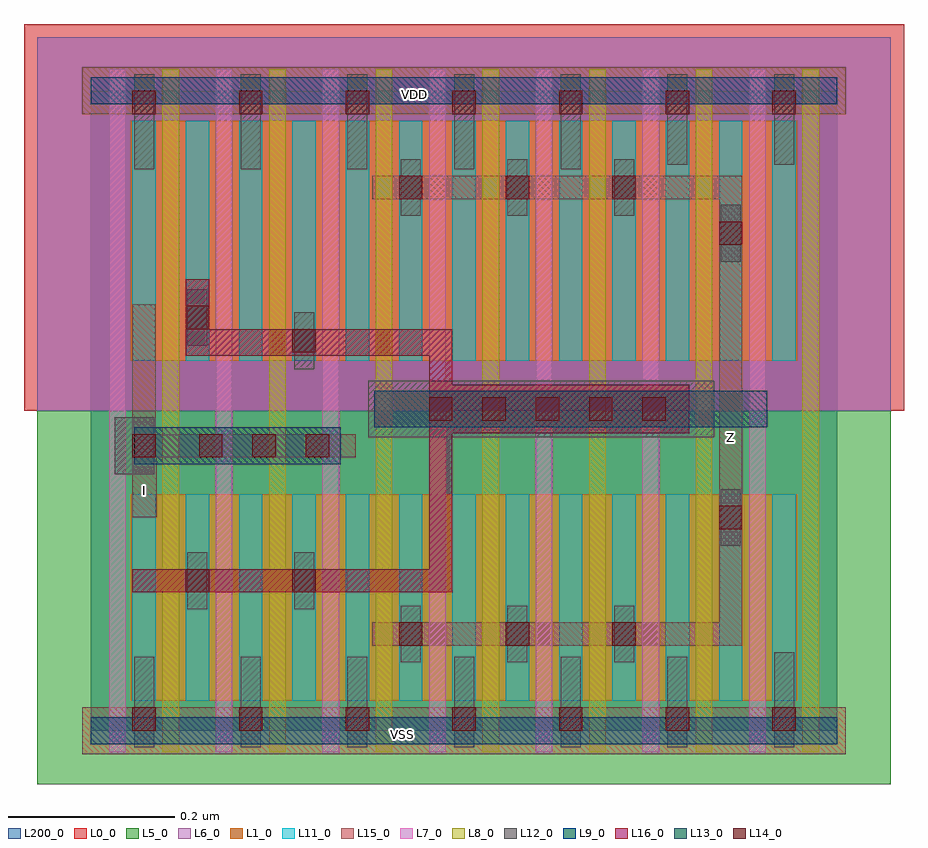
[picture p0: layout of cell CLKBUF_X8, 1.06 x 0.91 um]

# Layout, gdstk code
import gdstk
lib = gdstk.Library(unit=1e-6, precision=1e-09)
def R(c, l, rs):  # rectangles x0, y0, x1, y1
    for r in rs: c.add(gdstk.rectangle(r[:2], r[2:], *l))
def A(c, l, x, y, w, h, nx, ny, dx, dy):  # array of equal rectangles
    R(c, l, [(x+i*dx, y+j*dy, x+i*dx+w, y+j*dy+h) for i in range(nx) for j in range(ny)])
def P(c, l, *ps):  # polygons
    for p in ps: c.add(gdstk.Polygon(p, *l))
L0_0 = (0, 0)
L1_0 = (1, 0)
L5_0 = (5, 0)
L6_0 = (6, 0)
L7_0 = (7, 0)
L8_0 = (8, 0)
L9_0 = (9, 0)
L11_0 = (11, 0)
L12_0 = (12, 0)
L13_0 = (13, 0)
L14_0 = (14, 0)
L15_0 = (15, 0)
L16_0 = (16, 0)
L200_0 = (200, 0)

clkbuf_x8 = lib.new_cell('CLKBUF_X8')
R(clkbuf_x8, L0_0, [(-0.08,0.384,0.976,0.848)])
R(clkbuf_x8, L1_0, [(0.048,0.036,0.848,0.284), (0.048,0.444,0.848,0.732)])
R(clkbuf_x8, L5_0, [(-0.064,-0.064,0.96,0.384)])
R(clkbuf_x8, L6_0, [(-0.064,0.384,0.96,0.832)])
A(clkbuf_x8, L7_0, 0.022, -0.026, 0.02, 0.82, 7, 1, 0.128, 0)
A(clkbuf_x8, L8_0, 0.086, -0.026, 0.02, 0.82, 7, 1, 0.128, 0)
R(clkbuf_x8, L9_0, [(0,-0.016,0.896,0.016), (0,0.752,0.896,0.784)])
A(clkbuf_x8, L11_0, 0.05, 0.036, 0.028, 0.248, 13, 1, 0.064, 0)
A(clkbuf_x8, L11_0, 0.05, 0.444, 0.028, 0.288, 13, 1, 0.064, 0)
A(clkbuf_x8, L12_0, 0.052, -0.02, 0.024, 0.109, 6, 1, 0.128, 0)
A(clkbuf_x8, L12_0, 0.372, 0.082, 0.024, 0.068, 3, 2, 0.128, 0.536)
A(clkbuf_x8, L12_0, 0.052, 0.674, 0.024, 0.114, 5, 1, 0.128, 0)
R(clkbuf_x8, L12_0, [(0.82,-0.02,0.844,0.094), (0.116,0.146,0.14,0.214), (0.244,0.146,0.268,0.214), (0.756,0.222,0.78,0.29), (0.029,0.308,0.076,0.376), (0.333,0.352,0.748,0.42), (0.244,0.434,0.268,0.502), (0.116,0.462,0.14,0.53), (0.756,0.563,0.78,0.631), (0.692,0.679,0.716,0.788), (0.82,0.679,0.844,0.788)])
R(clkbuf_x8, L13_0, [(0.052,0.32,0.3,0.364), (0.34,0.364,0.812,0.408)])
A(clkbuf_x8, L14_0, 0.05, 0, 0.028, 0.028, 7, 2, 0.128, 0.74)
A(clkbuf_x8, L14_0, 0.37, 0.102, 0.028, 0.028, 3, 2, 0.128, 0.536)
A(clkbuf_x8, L14_0, 0.13, 0.328, 0.028, 0.028, 3, 1, 0.064, 0)
A(clkbuf_x8, L14_0, 0.406, 0.372, 0.028, 0.028, 5, 1, 0.064, 0)
R(clkbuf_x8, L14_0, [(0.114,0.166,0.142,0.194), (0.242,0.166,0.27,0.194), (0.754,0.242,0.782,0.27), (0.05,0.328,0.078,0.356), (0.242,0.454,0.27,0.482), (0.114,0.482,0.142,0.51), (0.754,0.583,0.782,0.611)])
R(clkbuf_x8, L15_0, [(-0.01,-0.028,0.906,0.028), (-0.01,0.74,0.906,0.796)])
P(clkbuf_x8, L15_0, [(0.05,0.256),(0.079,0.256),(0.079,0.328),(0.318,0.328),(0.318,0.356),(0.078,0.356),(0.078,0.512),(0.05,0.512)],
  [(0.338,0.638),(0.754,0.638),(0.754,0.13),(0.338,0.13),(0.338,0.102),(0.782,0.102),(0.782,0.666),(0.338,0.666)])
P(clkbuf_x8, L16_0, [(0.114,0.45),(0.406,0.45),(0.406,0.194),(0.05,0.194),(0.05,0.166),(0.434,0.166),(0.434,0.357),(0.718,0.357),(0.718,0.415),(0.434,0.415),(0.434,0.482),(0.142,0.482),(0.142,0.542),(0.114,0.542)])
R(clkbuf_x8, L200_0, [(0,0,0.896,0.768)])
clkbuf_x8.add(gdstk.Label('VSS', (0.374,-0.004), layer=15, texttype=20))
clkbuf_x8.add(gdstk.Label('I', (0.064,0.288), layer=15, texttype=20))
clkbuf_x8.add(gdstk.Label('Z', (0.768,0.352), layer=15, texttype=20))
clkbuf_x8.add(gdstk.Label('VDD', (0.389,0.764), layer=15, texttype=20))

lib.write_gds('CLKBUF_X8.gds')
